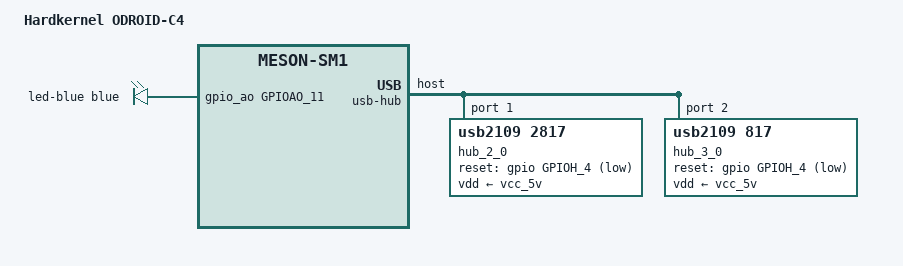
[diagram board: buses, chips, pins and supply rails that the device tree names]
// SPDX-License-Identifier: (GPL-2.0+ OR MIT)
/*
 * Copyright (c) 2020 Dongjin Kim <tobetter@gmail.com>
 */

/dts-v1/;

#include "meson-sm1-odroid.dtsi"

/ {
	compatible = "hardkernel,odroid-c4", "amlogic,sm1";
	model = "Hardkernel ODROID-C4";

	leds {
		compatible = "gpio-leds";

		led-blue {
			color = <LED_COLOR_ID_BLUE>;
			function = LED_FUNCTION_STATUS;
			gpios = <&gpio_ao GPIOAO_11 GPIO_ACTIVE_HIGH>;
			linux,default-trigger = "heartbeat";
			panic-indicator;
		};
	};

	sound {
		model = "ODROID-C4";
	};

	/* USB hub supports both USB 2.0 and USB 3.0 root hub */
	usb-hub {
		dr_mode = "host";
		#address-cells = <1>;
		#size-cells = <0>;

		/* 2.0 hub on port 1 */
		hub_2_0: hub@1 {
			compatible = "usb2109,2817";
			reg = <1>;
			peer-hub = <&hub_3_0>;
			reset-gpios = <&gpio GPIOH_4 GPIO_ACTIVE_LOW>;
			vdd-supply = <&vcc_5v>;
		};

		/* 3.1 hub on port 4 */
		hub_3_0: hub@2 {
			compatible = "usb2109,817";
			reg = <2>;
			peer-hub = <&hub_2_0>;
			reset-gpios = <&gpio GPIOH_4 GPIO_ACTIVE_LOW>;
			vdd-supply = <&vcc_5v>;
		};
	};
};

&ir {
	linux,rc-map-name = "rc-odroid";
};
